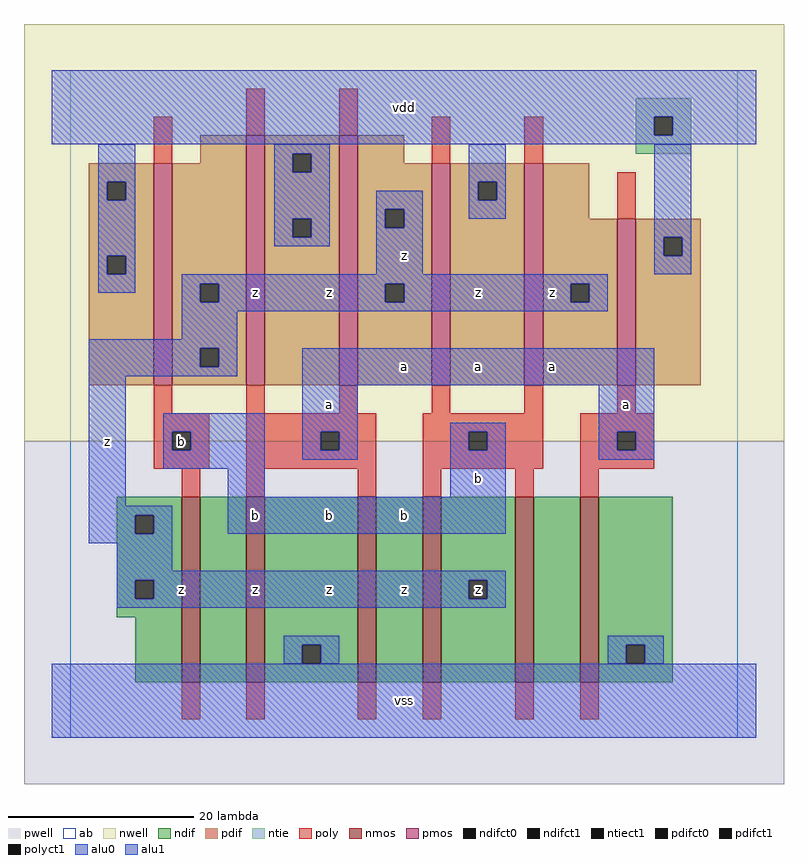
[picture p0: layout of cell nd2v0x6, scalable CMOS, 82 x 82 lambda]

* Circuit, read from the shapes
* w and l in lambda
.subckt nd2v0x6 a b vdd vss z
M1 n1 b z VSUBS nfet w=20 l=2
M2 vss a n1 VSUBS nfet w=20 l=2
M3 n2 a vss VSUBS nfet w=20 l=2
M4 z b n2 VSUBS nfet w=20 l=2
M5 n3 b z VSUBS nfet w=20 l=2
M6 vss a n3 VSUBS nfet w=20 l=2
M7 z b vdd vdd pfet w=24 l=2 m=3
M8 vdd a z vdd pfet w=27 l=2 m=2
M9 vdd a z vdd pfet w=18 l=2
.ends

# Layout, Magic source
magic
tech scmos
<< ab >>
rect 0 0 72 72
<< nwell >>
rect -5 32 77 77
<< pwell >>
rect -5 -5 77 32
<< poly >>
rect 9 62 11 67
rect 19 65 21 70
rect 29 65 31 70
rect 39 62 41 67
rect 49 62 51 67
rect 59 56 61 61
rect 9 35 11 38
rect 19 35 21 38
rect 29 35 31 38
rect 39 35 41 38
rect 49 35 51 38
rect 59 35 61 38
rect 9 33 15 35
rect 9 31 11 33
rect 13 31 15 33
rect 9 29 15 31
rect 19 33 33 35
rect 19 31 27 33
rect 29 31 33 33
rect 19 29 33 31
rect 12 26 14 29
rect 19 26 21 29
rect 31 26 33 29
rect 38 33 51 35
rect 38 31 43 33
rect 45 31 51 33
rect 38 29 51 31
rect 55 33 63 35
rect 55 31 59 33
rect 61 31 63 33
rect 55 29 63 31
rect 38 26 40 29
rect 48 26 50 29
rect 55 26 57 29
rect 12 2 14 6
rect 19 2 21 6
rect 31 2 33 6
rect 38 2 40 6
rect 48 2 50 6
rect 55 2 57 6
<< ndif >>
rect 5 24 12 26
rect 5 22 7 24
rect 9 22 12 24
rect 5 17 12 22
rect 5 15 7 17
rect 9 15 12 17
rect 5 13 12 15
rect 7 6 12 13
rect 14 6 19 26
rect 21 10 31 26
rect 21 8 25 10
rect 27 8 31 10
rect 21 6 31 8
rect 33 6 38 26
rect 40 17 48 26
rect 40 15 43 17
rect 45 15 48 17
rect 40 6 48 15
rect 50 6 55 26
rect 57 10 65 26
rect 57 8 60 10
rect 62 8 65 10
rect 57 6 65 8
<< pdif >>
rect 14 62 19 65
rect 2 60 9 62
rect 2 58 4 60
rect 6 58 9 60
rect 2 52 9 58
rect 2 50 4 52
rect 6 50 9 52
rect 2 38 9 50
rect 11 49 19 62
rect 11 47 14 49
rect 16 47 19 49
rect 11 42 19 47
rect 11 40 14 42
rect 16 40 19 42
rect 11 38 19 40
rect 21 63 29 65
rect 21 61 24 63
rect 26 61 29 63
rect 21 56 29 61
rect 21 54 24 56
rect 26 54 29 56
rect 21 38 29 54
rect 31 62 36 65
rect 31 57 39 62
rect 31 55 34 57
rect 36 55 39 57
rect 31 49 39 55
rect 31 47 34 49
rect 36 47 39 49
rect 31 38 39 47
rect 41 60 49 62
rect 41 58 44 60
rect 46 58 49 60
rect 41 38 49 58
rect 51 56 56 62
rect 51 49 59 56
rect 51 47 54 49
rect 56 47 59 49
rect 51 38 59 47
rect 61 54 68 56
rect 61 52 64 54
rect 66 52 68 54
rect 61 38 68 52
<< alu1 >>
rect -2 67 74 72
rect -2 65 63 67
rect 65 65 74 67
rect -2 64 74 65
rect 33 57 38 59
rect 33 55 34 57
rect 36 55 38 57
rect 33 50 38 55
rect 12 49 58 50
rect 12 47 14 49
rect 16 47 34 49
rect 36 47 54 49
rect 56 47 58 49
rect 12 46 58 47
rect 12 43 18 46
rect 2 42 18 43
rect 2 40 14 42
rect 16 40 18 42
rect 2 39 18 40
rect 2 25 6 39
rect 25 38 63 42
rect 10 33 21 35
rect 10 31 11 33
rect 13 31 21 33
rect 10 29 21 31
rect 25 33 31 38
rect 25 31 27 33
rect 29 31 31 33
rect 25 30 31 31
rect 41 33 47 34
rect 41 31 43 33
rect 45 31 47 33
rect 17 26 21 29
rect 41 26 47 31
rect 57 33 63 38
rect 57 31 59 33
rect 61 31 63 33
rect 57 30 63 31
rect 2 24 11 25
rect 2 22 7 24
rect 9 22 11 24
rect 17 22 47 26
rect 2 21 11 22
rect 5 18 11 21
rect 5 17 47 18
rect 5 15 7 17
rect 9 15 43 17
rect 45 15 47 17
rect 5 14 47 15
rect -2 0 74 8
<< ntie >>
rect 61 67 67 69
rect 61 65 63 67
rect 65 65 67 67
rect 61 63 67 65
<< nmos >>
rect 12 6 14 26
rect 19 6 21 26
rect 31 6 33 26
rect 38 6 40 26
rect 48 6 50 26
rect 55 6 57 26
<< pmos >>
rect 9 38 11 62
rect 19 38 21 65
rect 29 38 31 65
rect 39 38 41 62
rect 49 38 51 62
rect 59 38 61 56
<< polyct1 >>
rect 11 31 13 33
rect 27 31 29 33
rect 43 31 45 33
rect 59 31 61 33
<< ndifct0 >>
rect 25 8 27 10
rect 60 8 62 10
<< ndifct1 >>
rect 7 22 9 24
rect 7 15 9 17
rect 43 15 45 17
<< ntiect1 >>
rect 63 65 65 67
<< pdifct0 >>
rect 4 58 6 60
rect 4 50 6 52
rect 24 61 26 63
rect 24 54 26 56
rect 44 58 46 60
rect 64 52 66 54
<< pdifct1 >>
rect 14 47 16 49
rect 14 40 16 42
rect 34 55 36 57
rect 34 47 36 49
rect 54 47 56 49
<< alu0 >>
rect 3 60 7 64
rect 3 58 4 60
rect 6 58 7 60
rect 3 52 7 58
rect 22 63 28 64
rect 22 61 24 63
rect 26 61 28 63
rect 22 56 28 61
rect 43 60 47 64
rect 22 54 24 56
rect 26 54 28 56
rect 22 53 28 54
rect 43 58 44 60
rect 46 58 47 60
rect 43 56 47 58
rect 3 50 4 52
rect 6 50 7 52
rect 63 54 67 64
rect 63 52 64 54
rect 66 52 67 54
rect 63 50 67 52
rect 3 48 7 50
rect 23 10 29 11
rect 23 8 25 10
rect 27 8 29 10
rect 58 10 64 11
rect 58 8 60 10
rect 62 8 64 10
<< labels >>
rlabel alu1 12 16 12 16 6 z
rlabel polyct1 12 32 12 32 6 b
rlabel alu1 4 32 4 32 6 z
rlabel alu1 28 16 28 16 6 z
rlabel alu1 20 16 20 16 6 z
rlabel alu1 20 24 20 24 6 b
rlabel alu1 28 24 28 24 6 b
rlabel alu1 28 36 28 36 6 a
rlabel alu1 20 48 20 48 6 z
rlabel alu1 28 48 28 48 6 z
rlabel alu1 36 4 36 4 6 vss
rlabel ndifct1 44 16 44 16 6 z
rlabel alu1 36 16 36 16 6 z
rlabel alu1 36 24 36 24 6 b
rlabel alu1 44 28 44 28 6 b
rlabel alu1 44 40 44 40 6 a
rlabel alu1 52 40 52 40 6 a
rlabel alu1 36 40 36 40 6 a
rlabel alu1 36 52 36 52 6 z
rlabel alu1 52 48 52 48 6 z
rlabel alu1 44 48 44 48 6 z
rlabel alu1 36 68 36 68 6 vdd
rlabel alu1 60 36 60 36 6 a
<< end >>
